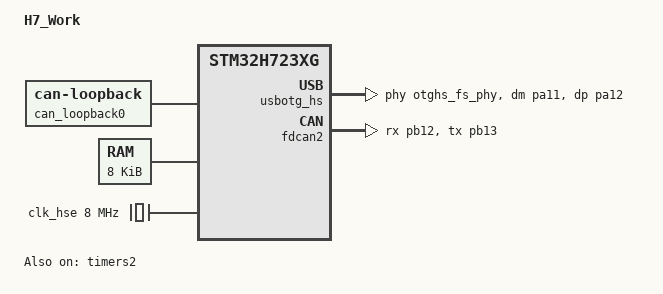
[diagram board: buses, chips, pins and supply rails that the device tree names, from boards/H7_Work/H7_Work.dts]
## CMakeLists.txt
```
# SPDX-License-Identifier: Apache-2.0

cmake_minimum_required(VERSION 3.28.0)

set(BOARD_ROOT ${CMAKE_CURRENT_LIST_DIR})
set(CMAKE_EXPORT_COMPILE_COMMANDS ON)

find_package(Zephyr REQUIRED HINTS $ENV{ZEPHYR_BASE})
project(H7_Work)

target_sources(app PRIVATE
    src/main.cpp
    src/Basic_USB.cpp
    src/Basic_CAN.cpp
    src/Extern_RM.cpp
    src/Extern_DM.cpp
    src/K_RTT_Thread.cpp
    src/K_CAN_Thread.cpp
    src/K_USB_CAN_ERR_Thread.cpp
    src/M_S_Control.cpp
)

target_include_directories(app PRIVATE
    ${CMAKE_CURRENT_SOURCE_DIR}/inc
    ${CMAKE_CURRENT_SOURCE_DIR}/src
)

set_source_files_properties(
    src/main.cpp
    PROPERTIES
    COMPILE_OPTIONS "-O0;-g3"
)
```

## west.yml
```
# Copyright (c) 2025 roboparty <2321901849@qq.com>
# SPDX-License-Identifier: GPL-3.0-only

manifest:
  version: 0.13

  projects:
    - name: zephyr
      remote: zephyrproject
      revision: main
      import: true

    - name: cannectivity
      remote: cannectivity
      revision: main
      path: custom/cannectivity

  remotes:
    - name: zephyrproject
      url-base: https://github.com/zephyrproject-rtos

    - name: cannectivity
      url-base: https://github.com/CANnectivity

  self:
    path: samples/roboto_usb2can
```

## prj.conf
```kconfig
# ------------------------------------------------------------------ 时钟
# STM32 时钟控制驱动：配置 PLL/总线时钟
CONFIG_CLOCK_CONTROL=y

# ------------------------------------------------------------------ 调试 / 运行时观测
# 静态初始化：C++静态对象在 main() 之前就构造好
CONFIG_STATIC_INIT_GNU=y
# 保留 assert: 失败会先打日志再挂住，便于定位。
CONFIG_ASSERT=y
# 线程分析器：查每个线程的栈用量 / CPU 占用
CONFIG_THREAD_ANALYZER=y
# 打印每个线程的优先级
CONFIG_THREAD_ANALYZER_PRINT_THREAD_PRIORITY=y
# 顺便统计中断栈（ISR0）的用量
CONFIG_THREAD_ANALYZER_ISR_STACK_USAGE=y
# 分析时用 k_thread_foreach_unlocked：逐字扫所有线程栈很慢，不要长时间关中断
CONFIG_THREAD_ANALYZER_RUN_UNLOCKED=y
# 线程名字
CONFIG_THREAD_NAME=y
# FPU 支持，让RTT可以打印float
CONFIG_CBPRINTF_FP_SUPPORT=y


# ------------------------------------------------------------------ 日志 (RTT 后端)
# 关键: deferred —— 日志由 log 线程格式化输出，不要在 UDC / USB 事件线程里同步写 RTT。
# 打开日志子系统（不开的话 LOG_ERR/LOG_INF 会在编译期被剔除）
CONFIG_LOG=y
# 延迟模式：调用者只入队，格式化/输出交给 logging 线程（不拖慢中断、UDC 线程）
CONFIG_LOG_MODE_DEFERRED=y
# 日志后端用 SEGGER RTT
CONFIG_LOG_BACKEND_RTT=y
# 启用 SEGGER RTT 本体
CONFIG_USE_SEGGER_RTT=y
# 允许用 devicetree 的 zephyr,memory-region 建立 no-cache 内存区
CONFIG_NOCACHE_MEMORY=y
# 把 RTT 控制块/缓冲放到 DTS 的 RTT_NOCACHE 区：Cortex-M7 有 D-cache，
# 放在可缓存内存里 pyocd 读 RTT 会 "Memory transfer fault (FAULT ACK)"
CONFIG_SEGGER_RTT_SECTION_CUSTOM_DTS_REGION=y
# RTT 上行缓冲满时丢日志，而不是阻塞调用者（UDC 线程 / 中断不能等）
CONFIG_LOG_BACKEND_RTT_MODE_DROP=y
# 日志格式化时不加时间戳（节省 CPU/堆栈）
CONFIG_LOG_BACKEND_SHOW_TIMESTAMP=n
# 全局日志级别 3 = INF：保留自己的 LOG_INF 调试输出
CONFIG_LOG_DEFAULT_LEVEL=3

# 缓存区大小：RTT 上行缓冲区 + LOG 环形缓冲区
CONFIG_SEGGER_RTT_BUFFER_SIZE_UP=8000
# LOG环形缓冲大小（analyzer 一次吐几十行；发现丢行就加大）
CONFIG_LOG_BUFFER_SIZE=16384
# logging 线程栈（格式化 + 写 RTT 都在这个线程栈上跑）
CONFIG_LOG_PROCESS_THREAD_STACK_SIZE=8000

# 以下三个模块只保留 WRN 及以上级别，避免 RTT 被刷屏
CONFIG_USBD_GS_USB_LOG_LEVEL_WRN=y
CONFIG_CAN_LOG_LEVEL_WRN=y
CONFIG_UDC_DRIVER_LOG_LEVEL_WRN=y

# ------------------------------------------------------------------ 内存分配 / 线程栈
# 所有中断栈
CONFIG_ISR_STACK_SIZE=8192
# 系统堆
CONFIG_HEAP_MEM_POOL_SIZE=8192
# 系统工作队列 sysworkq 线程栈
CONFIG_SYSTEM_WORKQUEUE_STACK_SIZE=4096
# main 线程栈（usbd_init/usbd_enable 等初始化都跑在 main 里）
CONFIG_MAIN_STACK_SIZE=4096

# ------------------------------------------------------------------ USB 设备栈 / 缓冲
# 用新一代 USB device 栈（device_next）；cannectivity 的 gs_usb 类依赖它
CONFIG_USB_DEVICE_STACK_NEXT=y
CONFIG_NONZERO_SPINLOCK_SIZE=y
# UDC 端点缓冲（net_buf）个数：USB 满载时不够会 enqueue 失败/丢帧 16～256
CONFIG_UDC_BUF_COUNT=64
# 上面这个缓冲池的总字节数 64~32768
CONFIG_UDC_BUF_POOL_SIZE=8192
# STM32 UDC 驱动线程栈 = 日志里的 usb@40040000（USB 端点事件/数据搬运用）
CONFIG_UDC_STM32_STACK_SIZE=4096
# usbd 协议栈线程栈
CONFIG_USBD_THREAD_STACK_SIZE=8192

# gs_usb_tx 线程
CONFIG_USBD_GS_USB_TX_THREAD_STACK_SIZE=8192
# gs_usb_rx 线程
CONFIG_USBD_GS_USB_RX_THREAD_STACK_SIZE=8192
# can_loopback（虚拟 can0）驱动的发送线程栈
CONFIG_CAN_LOOPBACK_TX_THREAD_STACK_SIZE=2048

# ------------------------------------------------------------------ gs_usb 设备类
# 暴露给主机的通道数：channel0 = can0(虚拟回环)，channel1 = can1(真实 FDCAN2)
CONFIG_USBD_GS_USB_MAX_CHANNELS=2
# 主机帧缓冲池: 元素 = 12B 头 + 64B 数据 (FD 模式) = 76B，
CONFIG_USBD_GS_USB_POOL_SIZE=192

# Linux gs_usb < 6.12.5 硬编码 EP 0x81 / 0x02，需要多一个 bulk OUT 端点兜底
CONFIG_USBD_GS_USB_COMPATIBILITY_MODE=y

# 收发线程优先级建议小于CAN所有FIFO，当前TX 0,RX 0
CONFIG_USBD_GS_USB_RX_THREAD_PRIO=2
CONFIG_USBD_GS_USB_TX_THREAD_PRIO=1

# ------------------------------------------------------------------ CAN / FDCAN
# CAN FD 模式：支持 FDF/BRS 帧，5M 数据段波特率需要它
CONFIG_CAN_FD_MODE=y
# 通用统计框架（下面的 CAN 统计依赖它）
CONFIG_STATS=y
# CAN 统计：bit/bit0 error、bus-off 等计数，对应 can_stats_get_*() 接口
CONFIG_CAN_STATS=y

# ------------------------------------------------------------------ 可选（要用再打开）
# 给每帧附加硬件时间戳
# CONFIG_USBD_GS_USB_TIMESTAMP=y
# 时间戳改用 USB SOF 做基准：精度更高，但每帧一次 SoF 中断（开销↑）
# CONFIG_USBD_GS_USB_TIMESTAMP_SOF=y
CONFIG_SYS_CLOCK_TICKS_PER_SEC=100000
```

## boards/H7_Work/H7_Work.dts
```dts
/dts-v1/;

#include <st/h7/stm32h723Xg.dtsi>
#include <st/h7/stm32h723vgtx-pinctrl.dtsi>
#include <zephyr/dt-bindings/memory-attr/memory-attr-arm.h>

/ {
	model = "H7_Work";
	compatible = "candlelightfd";

	aliases {
		rtt-custom-section = &rtt_region;
	};

	chosen {
		zephyr,sram = &sram0;
		zephyr,flash = &flash0;
		zephyr,canbus2 = &fdcan2;
		zephyr,canbus3 = &fdcan3;
	};

	cannectivity: cannectivity {
		compatible = "cannectivity";
		timestamp-counter = <&counters2>;

		channel0 {
			compatible = "cannectivity-channel";
			can-controller = <&fdcan2>;
		};
	};

	gs_usb0: gs_usb0 {
		compatible = "gs_usb";
		label = "gs_usb";
	};

	can_loopback0: can_loopback {
		compatible = "zephyr,can-loopback";
		status = "okay";
	};

	rtt_region: memory@2404e000 {
		compatible = "zephyr,memory-region", "mmio-sram";
		reg = <0x2404e000 DT_SIZE_K(8)>;
		zephyr,memory-region = "RTT_NOCACHE";
		zephyr,memory-attr = <DT_MEM_ARM_MPU_RAM_NOCACHE>;
	};
};

&sram0 {
	reg = <0x24000000 DT_SIZE_K(312)>;
};

/* Adjust the pll for a SYSTEM Clock of 480 MHz  */
&clk_hse {
	hse-bypass;
	clock-frequency = <DT_FREQ_M(8)>;
	status = "okay";
};

&pll {
	clocks = <&clk_hse>;
	div-m = <4>;   // 2 MHz to PLL（VCO）
	mul-n = <260>; // 520MHz
	div-p = <1>;   // 520MHz to SYS
	div-q = <13>;   // 20 MHz
	div-r = <13>;   // 20MHz to UART234578
	fracn = <0>;
	status = "okay";
};

&pll2 {
	clocks = <&clk_hse>;
	div-m = <1>;  // 8   MHz to PLL2（VCO）
	mul-n = <30>; // 240 MHz
	div-p = <3>;  // 80 MHz
	div-q = <3>;  // 80 MHz to FDCAN
	div-r = <2>;  // 120 MHz
	fracn = <0>;
	status = "okay";
};

&rcc {
	clocks = <&pll>;
	clock-frequency = <DT_FREQ_M(520)>;     /* 520 MHz SCLK*/
	d1cpre = <1>;                           /* 520 MHz CPU Clocks*/
	hpre = <4>;				/* 130 MHz */
	d1ppre = <1>;				/* 130 MHz APB3 Peripheral Clock */
	d2ppre1 = <1>;				/* 130 MHz APB1 Peripheral Clock */
	d2ppre2 = <1>;				/* 130 MHz APB2 Peripheral Clock */
	d3ppre = <1>;				/* 130 MHz APB4 Peripheral Clock */
	timpre;					/* Timer Clock Prescaler */
};

&clk_hsi48 {
	status = "okay";
};

zephyr_udc0: &usbotg_hs {
	pinctrl-0 = <&usb_otg_hs_dm_pa11 &usb_otg_hs_dp_pa12>;
	pinctrl-names = "default";
	/*           otghs   ep1_out ep1_in  */
	interrupts = <77 0>, <74 0>, <75 0>;
	num-bidir-endpoints = <9>;
	phys = <&otghs_fs_phy>;
	maximum-speed = "full-speed";
	ram-size = <DT_SIZE_K(4)>;
	clocks = <&rcc STM32_CLOCK(AHB1, 25)>,
		 <&rcc STM32_SRC_HSI48 USB_SEL(3)>;
	status = "okay";
};

&fdcan2 {
	pinctrl-0 = <&fdcan2_rx_pb12 &fdcan2_tx_pb13>;
	pinctrl-names = "default";
	clocks = <&rcc STM32_CLOCK(APB1_2, 8)>,
		 <&rcc STM32_SRC_PLL2_Q FDCAN_SEL(2)>;
	/*             int0   int1    calib  */
	interrupts = <20 0>, <22 0>, <63 0>;
	bosch,mram-cfg = <0x350 28 8 6 0 0 3 3>;
	status = "okay";
};

&timers2 {
	status = "okay";
	st,prescaler = <239>;

	counters2: counter {
		status = "okay";
	};
};

&pwr {
	power-supply = "ldo";
};
```

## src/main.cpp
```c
#include <zephyr/kernel.h>
#include <zephyr/logging/log.h>

#include <Basic_USB.h>

#include <K_RTT_Thread.h>
#include <K_CAN_Thread.h>

#include <M_S_Control.h>

LOG_MODULE_REGISTER(main, LOG_LEVEL_INF);

K_THREAD_DEFINE(RTT_TX_tid, 4096,
				RTT_TX_thread, 
				NULL, NULL, NULL,
				7, 0, 0);

				
K_THREAD_DEFINE(RTT_RX_tid, 4096,
				RTT_RX_thread,
				NULL, NULL, NULL,
				6, 0, 0);

K_THREAD_DEFINE(CAN2_tid, 2048,
				CAN2_thread, 
				NULL, NULL, NULL, 
				1, 0, SYS_FOREVER_MS);

K_THREAD_DEFINE(CAN_loopback_tid, 2048,
				CAN_loopback_thread, 
				NULL, NULL, NULL, 
				5, 0, 0);

// K_THREAD_DEFINE(USB_CAN_Err_tid, 1024,
// 				USB_CAN_ERR_thread, 
// 				NULL, NULL, NULL, 
// 				2, 0, 0);

struct usbd_context *usb_main_get(void) {return &usbd;}
int main_err = 0;
static bool can2_started;
int main(void)
{
	LOG_INF("Begin Gimbal");

	#ifdef CONFIG_USB_DEVICE_STACK_NEXT
	
    ops.event = gs_usb_event_handler;
    
	main_err = can_channels_validate(can_channels);
	if (main_err != 0) 
	{
		LOG_ERR("can_channels_validate failed (err %d)", main_err);
		return main_err;
	}

	main_err = gs_usb_register(gs_usb_dev, can_channels, ARRAY_SIZE(can_channels), &ops, NULL);
	if (main_err != 0) 
	{
		LOG_ERR("failed to register gs_usb (err %d)", main_err);
		return main_err;
	}

	if (!device_is_ready(gs_usb_dev)) 
	{
		LOG_ERR("gs_usb not ready");
		return -ENODEV;
	}

	/* New USB stack initialization */
	main_err = usbd_add_descriptor(&usbd, &lang);
	if (main_err != 0) 
	{
		LOG_ERR("failed to add language descriptor (err %d)", main_err);
		return main_err;
	}

	main_err = usbd_add_descriptor(&usbd, &mfr);
	if (main_err != 0) 
	{
		LOG_ERR("failed to add manufacturer descriptor (err %d)", main_err);
		return main_err;
	}

	main_err = usbd_add_descriptor(&usbd, &product);
	if (main_err != 0) 
	{
		LOG_ERR("failed to add product descriptor (err %d)", main_err);
		return main_err;
	}

	main_err = usbd_add_descriptor(&usbd, &sn);
	if (main_err != 0) 
	{
		LOG_ERR("failed to add serial number descriptor (err %d)", main_err);
		return main_err;
	}

	main_err = usbd_add_configuration(&usbd, USBD_SPEED_FS, &fs_config);
	if (main_err != 0) 
	{
		LOG_ERR("failed to add full-speed configuration (err %d)", main_err);
		return main_err;
	}

	main_err = usbd_register_class(&usbd, "gs_usb_0", USBD_SPEED_FS, 1);
	if (main_err != 0) 
	{
		LOG_ERR("failed to register gs_usb class (err %d)", main_err);
		return main_err;
	}

	main_err = usbd_device_set_code_triple(&usbd, USBD_SPEED_FS, 0, 0, 0);
	if (main_err != 0) 
	{
		LOG_ERR("failed to set code triple (err %d)", main_err);
		return main_err;
	}

	/* Set USB version to 2.0.1 to trigger BOS descriptor read (required for WinUSB) */
	main_err = usbd_device_set_bcd_usb(&usbd, USBD_SPEED_FS, USB_SRN_2_0_1);
	if (main_err != 0) 
	{
		LOG_ERR("failed to set FS bcdUSB (err %d)", main_err);
		return main_err;
	}

	/* Set device version */
	main_err = usbd_device_set_bcd_device(&usbd, APP_VERSION_BCD);
	if (main_err != 0) 
	{
		LOG_ERR("failed to set bcdDevice (err %d)", main_err);
		return main_err;
	}

	main_err = usbd_add_descriptor(&usbd, &bos_lpm);
	if (main_err != 0) 
	{
		LOG_ERR("failed to add BOS LPM descriptor (err %d)", main_err);
		return main_err;
	}

	main_err = usbd_init(&usbd);
	if (main_err != 0) 
	{
		LOG_ERR("failed to initialize USB device (err %d)", main_err);
		return main_err;
	}

	main_err = usbd_enable(&usbd);
	if (main_err != 0) 
	{
		LOG_ERR("failed to enable USB device (err %d)", main_err);
		return main_err;
	}
	#else
		/* Old USB stack */
		main_err = usb_enable(NULL);
		if (main_err != 0) 
		{
			LOG_ERR("failed to enable USB (err %d)", main_err);
			return main_err;
		}
	#endif

	M_S_Control.C_M_TO_S(usb_main_get());
	if (!can2_started) 
	{
		can2_started = true;
		k_thread_start(CAN2_tid);
	}

	return 0;
}
```

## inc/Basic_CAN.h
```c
#ifndef BASIC_CAN_H_
#define BASIC_CAN_H_

#include <zephyr/kernel.h>
#include <zephyr/drivers/can.h>
#include <zephyr/devicetree.h> 

#define CAN_Get_Frame(data_ptr, q_name)   (k_msgq_put(&(q_name), (data_ptr), K_NO_WAIT))

extern const struct can_filter BASIC_CANLB_Fil;
extern const struct can_filter BASIC_CAN1_Fil;
extern const struct can_filter BASIC_CAN2_Fil;
extern const struct can_filter BASIC_CAN3_Fil;

extern struct k_msgq basic_canlb_q;
extern struct k_msgq basic_can1_q;
extern struct k_msgq basic_can2_q;
extern struct k_msgq basic_can3_q;

void CAN_LB_RX_Cplt(const struct device *dev, struct can_frame *frame, void *user_data);
void CAN1_RX_Cplt(const struct device *dev, struct can_frame *frame, void *user_data);
void CAN2_RX_Cplt(const struct device *dev, struct can_frame *frame, void *user_data);
void CAN3_RX_Cplt(const struct device *dev, struct can_frame *frame, void *user_data);

void CAN_Clear_All_Filters(const struct device *can);
void CAN_Clear_Std_Filters(const struct device *can);

int Basic_CAN_Start(const struct device *can,
                        uint16_t can_mod,
                        can_rx_callback_t CAN_RX_Cplt,
                        const struct can_filter *filter,
                        uint32_t bitrate);

int Basic_CAN_Stop(const struct device *can);
#endif
```

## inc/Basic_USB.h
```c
#pragma once

#ifdef CONFIG_USB_DEVICE_STACK_NEXT
#include <zephyr/usb/usbd.h>
#include <cannectivity/usb/class/gs_usb.h>

#define CAN_CHANNELS_NUM CONFIG_USBD_GS_USB_MAX_CHANNELS
#define APP_VERSION_BCD 0x0100

/* ==================================================================
 * 注意：USBD_DEVICE_DEFINE / USBD_DESC_*_DEFINE 展开出来全是 static
 * 变量。若直接写在头文件里，每个包含它的 .cpp 都会生成一份独立副本
 * （map 里曾经出现 5 个 _usbd_context.static.usbd_，分布在
 *  main.cpp / Basic_USB.cpp / K_RTT_Thread.cpp /
 *  K_USB_CAN_ERR_Thread.cpp / M_S_Control.cpp）。
 * 因此所有 usbd 对象统一在 src/Basic_USB.cpp 里定义一次，
 * 这里只做函数声明，其他文件一律通过函数拿指针。
 * ================================================================== */

/* 返回唯一的 usbd 上下文（定义在 Basic_USB.cpp） */
struct usbd_context *usb_main_get(void);

/* 完整初始化 USB 设备栈：
 *   gs_usb_register -> 描述符/配置/类注册 -> usbd_init() -> usbd_enable()
 * 成功返回 0，失败返回错误码（与原 main() 中的步骤一一对应）。 */
int Basic_USB_Init(void);

extern atomic_t USB_CHANNEL_STARTED[CONFIG_USBD_GS_USB_MAX_CHANNELS],
                USB_CHANNEL_ERROR_OFF[CONFIG_USBD_GS_USB_MAX_CHANNELS],
                USB_CHANNEL_ERROR_ON[CONFIG_USBD_GS_USB_MAX_CHANNELS],
                USB_CHANNEL_ACTIVITY_RX[CONFIG_USBD_GS_USB_MAX_CHANNELS],
                USB_CHANNEL_ACTIVITY_TX[CONFIG_USBD_GS_USB_MAX_CHANNELS];

extern const struct device *can_channels[CAN_CHANNELS_NUM];

/* BOS 能力描述符（bos_cap_lpm）与 BOS 节点（bos_lpm）同样定义在
 * src/Basic_USB.cpp，这里不需要可见。 */

extern const struct device *gs_usb_dev;
extern struct gs_usb_ops ops;

int gs_usb_event_handler(const struct device *dev, uint16_t ch,
                         enum gs_usb_event event, void *user_data);

int can_channels_validate(const struct device **channels);

void USB_CAN_ERR_thread(void *p1, void *p2, void *p3);

#endif
```

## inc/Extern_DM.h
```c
#ifndef EXTERN_DM_H_
#define EXTERN_DM_H_

#include <stdbool.h>
#include <stdint.h>

#include <zephyr/kernel.h>
#include <zephyr/drivers/can.h>
#include <zephyr/devicetree.h>

/*
 * 达妙 MIT 模式反馈量程。
 * 位置单位：rad；速度单位：rad/s；力矩单位：N·m。
 * 不同电压/固件版本可能有不同量程，调用者应以电机手册为准。
 */
struct DM_Feedback
{
    uint16_t can_id;
    uint8_t error;
    float position;
    float velocity;
    float torque;
    uint8_t mos_temperature;
    uint8_t rotor_temperature;
};

/*
 * 发送一帧达妙 MIT 控制命令。
 * Id 是电机 CAN 从机 ID；Kp、Kd、Position、Velocity、Torque 使用物理单位。
 * P_Max、V_Max、T_Max 必须匹配具体电机型号。
 */
int Send_DM(const struct device *can,
            uint16_t Id,
            float Kp,
            float Kd,
            float Position,
            float Velocity,
            float Torque,
            float P_Max,
            float V_Max,
            float T_Max);

/* 达妙命令：0xFC 使能，0xFD 停止，0xFE 设置零位。 */
int Send_DM_Command(const struct device *can, uint16_t Id, uint8_t Command);
int Enable_DM(const struct device *can, uint16_t Id);
int Disable_DM(const struct device *can, uint16_t Id);
int Set_Zero_DM(const struct device *can, uint16_t Id);

/* 将一帧 8 字节达妙反馈解码为位置、速度、力矩和温度。 */
bool Decode_DM(const struct can_frame *Frame,
               struct DM_Feedback *Feedback,
               float P_Max,
               float V_Max,
               float T_Max);

#endif
```

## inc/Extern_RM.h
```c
#ifndef EXTERN_RM_H_
#define EXTERN_RM_H_

#include <zephyr/kernel.h>
#include <zephyr/drivers/can.h>
#include <zephyr/devicetree.h> 

void Send_RM(const struct device *can, uint16_t Id, int16_t M_201, int16_t M_202, int16_t M_203, int16_t M_204);
#endif
```

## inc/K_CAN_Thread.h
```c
#ifndef K_CAN_THREAD_H_
#define K_CAN_THREAD_H_

#include <zephyr/kernel.h>
#include <zephyr/drivers/can.h>
#include <zephyr/devicetree.h> 

extern const k_tid_t CAN2_tid;

void CAN2_thread(void *p1, void *p2, void *p3);
void CAN_loopback_thread(void *p1, void *p2, void *p3);
#endif
```

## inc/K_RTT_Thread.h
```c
#ifndef RTT_THREAD_H_
#define RTT_THREAD_H_

#include <zephyr/kernel.h>
#include <zephyr/logging/log.h>
#include <zephyr/sys/sys_io.h>
#include <SEGGER_RTT.h>
extern int RTT_LOG_INFO;
extern uint32_t CAN_RX_Num;
extern uint32_t CAN_TX_Num;
void RTT_TX_thread(void *p1, void *p2, void *p3);
void RTT_RX_thread(void *p1, void *p2, void *p3);

#endif
```

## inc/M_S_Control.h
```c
#ifndef M_S_CONTROL_H_
#define M_S_CONTROL_H_

#include <zephyr/kernel.h>
#include <zephyr/drivers/can.h>
#include <zephyr/devicetree.h> 



class _M_S_Control
{
    private:
        struct k_sem sem;
        bool S_State;
        bool *E_CAN_State;
        const uint16_t *can_mod;
        const can_rx_callback_t *CAN_RX_Cplt;
        const struct device **can_dev;
        const struct can_filter *const *Fil;
        const uint32_t *bitrate;
    public:
        _M_S_Control(bool *E_CAN_State,
                     const uint16_t *can_mod,
                     const can_rx_callback_t *CAN_RX_Cplt,
                     const struct device **can_dev,
                     const struct can_filter *const *Fil,
                     const uint32_t *bitrate)
                    :S_State(false), E_CAN_State(E_CAN_State), can_mod(can_mod), CAN_RX_Cplt(CAN_RX_Cplt),can_dev(can_dev), Fil(Fil), bitrate(bitrate)
                    {k_sem_init(&sem, 1, 1);}
        
        /* delete cpoy function */
        _M_S_Control(const _M_S_Control&) = delete;
        _M_S_Control& operator=(const _M_S_Control&) = delete;

        int C_M_TO_S(struct usbd_context *const uds_ctx);

        int C_S_TO_M(  struct usbd_context *const uds_ctx,
                        const struct device *usb_dev,
                        struct gs_usb_ops *res_ops);
        
        bool Get_S_State(k_timeout_t timeout);
        bool Get_E_CAN_State(size_t channel, k_timeout_t timeout);
};
extern _M_S_Control M_S_Control;
#endif
```

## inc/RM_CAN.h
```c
#ifndef RM_CAN_H_
#define RM_CAN_H_

#include <zephyr/kernel.h>
#include <zephyr/drivers/can.h>
#include <zephyr/devicetree.h> 

#define CAN_Get_Frame(data_ptr, q_name)   (k_msgq_put(&(q_name), (data_ptr), K_NO_WAIT))

extern const struct can_filter RM_CAN2_Fil;
extern const struct can_filter RM_CAN3_Fil;

extern struct k_msgq rm_can2_q;
extern struct k_msgq rm_can3_q;

void CAN2_RX_Cplt(const struct device *dev, struct can_frame *frame, void *user_data);
void CAN3_RX_Cplt(const struct device *dev, struct can_frame *frame, void *user_data);
void CAN_Clear_Filters(const struct device *can);

void CAN_RM_Start(  const struct device *can,
                    uint16_t can_mod,
                    can_rx_callback_t CAN_RX_Cplt,
                    const struct can_filter *filter);

void CAN_RM_Stop(const struct device *can);
void Send_RM(const struct device *can, uint16_t Id, int16_t M_201, int16_t M_202, int16_t M_203, int16_t M_204);
#endif
```

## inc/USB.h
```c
#pragma once

#ifdef CONFIG_USB_DEVICE_STACK_NEXT
#include <zephyr/usb/usbd.h>
#include <cannectivity/usb/class/gs_usb.h>

#define CAN_CHANNELS_NUM CONFIG_USBD_GS_USB_MAX_CHANNELS
#define APP_VERSION_BCD 0x0100

/* ============ 1. 设备上下文 + 标准字符串/配置描述符 ============ */
USBD_DEVICE_DEFINE(usbd, DEVICE_DT_GET(DT_NODELABEL(zephyr_udc0)), 0x1D50, 0x606F);
USBD_DESC_LANG_DEFINE(lang);
USBD_DESC_MANUFACTURER_DEFINE(mfr, "A_Shui");
USBD_DESC_PRODUCT_DEFINE(product, "product_0");
USBD_DESC_SERIAL_NUMBER_DEFINE(sn);
USBD_DESC_CONFIG_DEFINE(fs_config_desc, "Full-Speed Configuration");
USBD_CONFIGURATION_DEFINE(fs_config, 0, 250, &fs_config_desc);

extern atomic_t USB_CHANNEL_STARTED[CONFIG_USBD_GS_USB_MAX_CHANNELS],
                USB_CHANNEL_ERROR_OFF[CONFIG_USBD_GS_USB_MAX_CHANNELS],
                USB_CHANNEL_ERROR_ON[CONFIG_USBD_GS_USB_MAX_CHANNELS],
                USB_CHANNEL_ACTIVITY_RX[CONFIG_USBD_GS_USB_MAX_CHANNELS],
                USB_CHANNEL_ACTIVITY_TX[CONFIG_USBD_GS_USB_MAX_CHANNELS];

extern const struct device *can_channels[CAN_CHANNELS_NUM];

/* ============ 2. BOS 能力：USB2.0 Extension(LPM) ============ */
static const struct usb_bos_capability_lpm bos_cap_lpm = {
    .bLength = sizeof(struct usb_bos_capability_lpm),
    .bDescriptorType = USB_DESC_DEVICE_CAPABILITY,
    .bDevCapabilityType = USB_BOS_CAPABILITY_EXTENSION,
    .bmAttributes = 0UL,
};

/* ============ 3. BOS 描述符节点 ============ */
USBD_DESC_BOS_DEFINE(bos_lpm, sizeof(bos_cap_lpm), &bos_cap_lpm);

struct usbd_context *usb_main_get(void);
extern const struct device *gs_usb_dev;
extern struct gs_usb_ops ops;

int gs_usb_event_handler(const struct device *dev, uint16_t ch,
                         enum gs_usb_event event, void *user_data);

int can_channels_validate(const struct device **channels);

void USB_CAN_ERR_thread(void *p1, void *p2, void *p3);

#endif
```

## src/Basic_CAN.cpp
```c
#include "Basic_CAN.h"
#include "M_S_Control.h"

const struct can_filter BASIC_CANLB_Fil = { .id = 0, .mask = 0, .flags = 0 };
const struct can_filter BASIC_CAN1_Fil = { .id = 0, .mask = 0, .flags = 0 };
const struct can_filter BASIC_CAN2_Fil = { .id = 0, .mask = 0, .flags = 0 };
const struct can_filter BASIC_CAN3_Fil = { .id = 0, .mask = 0, .flags = 0 };

K_MSGQ_DEFINE(basic_canlb_q, 8,8,2);
K_MSGQ_DEFINE(basic_can1_q, 8,8,2);
K_MSGQ_DEFINE(basic_can2_q, 8,8,2);
K_MSGQ_DEFINE(basic_can3_q, 8,8,2);
extern uint32_t CAN_RX_Num;
__noinit volatile float torque;
REQUIRES(torque);

float uint_to_float(int x_int, float x_min, float x_max, int bits)
{
    /// converts unsigned int to float, given range and number of bits ///
    float span = x_max - x_min;
    float offset = x_min;
    return ((float)x_int) * span / ((float)((1 << bits) - 1)) + offset;
}

__attribute__((weak)) void CAN_LB_RX_Cplt(const struct device *dev, 
                                        struct can_frame *frame,
                                        void *user_data)
{
    k_msgq_purge(&basic_canlb_q);
    CAN_Get_Frame(frame->data,basic_canlb_q);
}

__attribute__((weak)) void CAN1_RX_Cplt(const struct device *dev, 
                                        struct can_frame *frame,
                                        void *user_data)
{
    k_msgq_purge(&basic_can1_q);
    CAN_Get_Frame(frame->data,basic_can1_q);
}

__attribute__((weak)) void CAN2_RX_Cplt(const struct device *dev, 
                                        struct can_frame *frame,
                                        void *user_data)
{
    k_msgq_purge(&basic_can2_q);
    CAN_Get_Frame(frame->data,basic_can2_q);
    CAN_RX_Num++;
    if(frame->id == 0x13)
    {
        int t_int = ((frame->data[4] & 0xF) << 8) | frame->data[5];
        torque = uint_to_float(t_int,-28.0f,28.0f,12);
    }
    
}

__attribute__((weak)) void CAN3_RX_Cplt(const struct device *dev, 
                                        struct can_frame *frame,
                                        void *user_data)
{
    k_msgq_purge(&basic_can3_q);
    CAN_Get_Frame(frame->data,basic_can3_q);
}


/*-  0: success
  - -1: can is NULL
  - -2: can_stop fail
  - -3: can_add_rx_filter fail
  - -4: can_set_mode fail
  - -5: can_set_bitrate fail
  - -6: can_set_bitrate_data fail
  - -7: can_start fail*/
int Basic_CAN_Start(const struct device *can,
                        uint16_t can_mod,
                        can_rx_callback_t CAN_RX_Cplt,
                        const struct can_filter *filter,
                        uint32_t bitrate)
{
    if(can != NULL)
    {
        int rec = can_stop(can);
        if(rec == 0 || rec == -EALREADY)
            if (can == DEVICE_DT_GET_ONE(zephyr_can_loopback))
                CAN_Clear_Std_Filters(can);
            else
                CAN_Clear_All_Filters(can);
        else
            return -2;

        if(can_add_rx_filter(can, CAN_RX_Cplt, NULL, filter) != 0)
            return -3;

        if(can_set_mode(can, can_mod) != 0)
            return -4;

        if (can_mod & CAN_MODE_FD)
        {
            if( ( can_set_bitrate(can, 1000000) 
                & can_set_bitrate_data(can, bitrate) ) != 0)
                return -5;
        }
        else
        {
            if(can_set_bitrate(can, bitrate) != 0)
                return -6;
        }
        
        if(can_start(can) != 0)
            return -7;

        return 0;
    }
    return -1;
}

/*-  0: success
  - -1: can is NULL
  - -2: can_stop fail */
int Basic_CAN_Stop(const struct device *can)
{
    if(can != NULL)
    {
        int rec = can_stop(can);
        if(rec == 0 || rec == -EALREADY)
        {
            if (can == DEVICE_DT_GET_ONE(zephyr_can_loopback))
                CAN_Clear_Std_Filters(can);
            else
                CAN_Clear_All_Filters(can);
            return 0;
        }
        else
            return -2;
    }
    return -1;
}

void CAN_Clear_All_Filters(const struct device *can)
{
    int n_std = can_get_max_filters(can, false);
    int n_ext = can_get_max_filters(can, true);
    for (int id = 0; id < n_std + n_ext; id++) 
        can_remove_rx_filter(can, id);
}

void CAN_Clear_Std_Filters(const struct device *can)
{
    int n_std = can_get_max_filters(can, false);
    for (int id = 0; id < n_std; id++) 
        can_remove_rx_filter(can, id);
}
```

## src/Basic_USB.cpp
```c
#include <zephyr/kernel.h>
#include <zephyr/sys/atomic.h>
#include <zephyr/sys/sys_io.h>
#include <zephyr/logging/log.h>
#include "Basic_USB.h"
#include <zephyr/drivers/can.h>
#include <zephyr/devicetree.h> 

K_MSGQ_DEFINE(CAN_ERR_MSGQ, sizeof(uint8_t), 2, 1);

LOG_MODULE_REGISTER(usb_can, LOG_LEVEL_INF);

/* ==================================================================
 * USB 设备栈对象：整个工程只在这里定义一次
 *   USBD_DEVICE_DEFINE / USBD_DESC_*_DEFINE 展开为 static 变量，
 *   若写在头文件里会在每个 TU 里各生成一份（曾经的 5 份副本问题）。
 * ================================================================== */
USBD_DEVICE_DEFINE(usbd, DEVICE_DT_GET(DT_NODELABEL(zephyr_udc0)), 0x1D50, 0x606F);

USBD_DESC_LANG_DEFINE(lang);
USBD_DESC_MANUFACTURER_DEFINE(mfr, "A_Shui");
USBD_DESC_PRODUCT_DEFINE(product, "product_0");
USBD_DESC_SERIAL_NUMBER_DEFINE(sn);

USBD_DESC_CONFIG_DEFINE(fs_config_desc, "Full-Speed Configuration");
USBD_CONFIGURATION_DEFINE(fs_config, 0, 250, &fs_config_desc);

/* BOS 能力：USB2.0 Extension(LPM) */
static const struct usb_bos_capability_lpm bos_cap_lpm = {
    .bLength = sizeof(struct usb_bos_capability_lpm),   //字节数
    .bDescriptorType = USB_DESC_DEVICE_CAPABILITY,      //Device Capability 描述符
    .bDevCapabilityType = USB_BOS_CAPABILITY_EXTENSION, //USB2.0拓展，如果windows免驱可能要更改
    // bit0：必须为0
    // bit1：支持LPM             =0为不支持
    // bit2：BESL有效            =0不提供BESL参数
    // bit3：baseline BESL有效   =0为不支持
    // bits4–7：为baseline BESL值（单位µs）
    // bit8：deep BESL 数值有效
    // bits：Deep BESL value值（单位µs）
    .bmAttributes = 0UL,
};
USBD_DESC_BOS_DEFINE(bos_lpm, sizeof(bos_cap_lpm), &bos_cap_lpm);

struct usbd_context *usb_main_get(void)
{
    return &usbd;
}

/* ==================== ops 事件 ==================== */
static atomic_t evt_err_off;
atomic_t USB_CHANNEL_STARTED[CONFIG_USBD_GS_USB_MAX_CHANNELS] = {0},
         USB_CHANNEL_ERROR_OFF[CONFIG_USBD_GS_USB_MAX_CHANNELS] = {0},
         USB_CHANNEL_ERROR_ON[CONFIG_USBD_GS_USB_MAX_CHANNELS] = {0},
         USB_CHANNEL_ACTIVITY_RX[CONFIG_USBD_GS_USB_MAX_CHANNELS] = {0},
         USB_CHANNEL_ACTIVITY_TX[CONFIG_USBD_GS_USB_MAX_CHANNELS] = {0};

const struct device *can_channels[CONFIG_USBD_GS_USB_MAX_CHANNELS] =
{
    DEVICE_DT_GET(DT_NODELABEL(can_loopback0)),
    DEVICE_DT_GET(DT_NODELABEL(fdcan2)),
};

const struct device *gs_usb_dev = DEVICE_DT_GET(DT_NODELABEL(gs_usb0));
struct gs_usb_ops ops;

int can_channels_validate(const struct device **channels)
{
    for (int i = 0; i < CAN_CHANNELS_NUM; i++) {
        if (can_channels[i] == NULL) 
        {
            return -EINVAL;
        }
    }
    return 0;
}

int gs_usb_event_handler(const struct device *dev, uint16_t ch,
                                enum gs_usb_event event, void *user_data)
{
    switch (event)
    {
        case GS_USB_EVENT_CHANNEL_STARTED:
            atomic_inc(&USB_CHANNEL_STARTED[ch]);break;
        case GS_USB_EVENT_CHANNEL_ERROR_OFF:
            atomic_inc(&USB_CHANNEL_ERROR_OFF[ch]);break;
        case GS_USB_EVENT_CHANNEL_ERROR_ON:
            atomic_inc(&USB_CHANNEL_ERROR_ON[ch]);break;
        case GS_USB_EVENT_CHANNEL_ACTIVITY_RX:
            atomic_inc(&USB_CHANNEL_ACTIVITY_RX[ch]);break;
        case GS_USB_EVENT_CHANNEL_ACTIVITY_TX:
            atomic_inc(&USB_CHANNEL_ACTIVITY_TX[ch]);break;
        default:
            break;
    }
    // 错误计数>=128
    // if(event == GS_USB_EVENT_CHANNEL_ERROR_ON)
    // {
    //     uint8_t ch_8 = (uint8_t)ch;
    //     k_msgq_put(&CAN_ERR_MSGQ, &ch_8, K_NO_WAIT);
    //     return -1;
    // }
    return 0;
}

/* ==================================================================
 * USB 设备栈初始化：从原 main() 搬过来，顺序保持不变
 * ================================================================== */
int Basic_USB_Init(void)
{
    int err;

    /* 自检：确认上下文就是唯一那份、描述符指针非空、尚未初始化 */
    LOG_INF("usbd=%p fs_desc=%p hs_desc=%p initialized=%d",
            (void *)&usbd, usbd.fs_desc, usbd.hs_desc,
            usbd.status.initialized);

    ops.event = gs_usb_event_handler;

    err = can_channels_validate(can_channels);
    if (err != 0)
    {
        LOG_ERR("can_channels_validate failed (err %d)", err);
        return err;
    }

    err = gs_usb_register(gs_usb_dev, can_channels, ARRAY_SIZE(can_channels), &ops, NULL);
    if (err != 0)
    {
        LOG_ERR("failed to register gs_usb (err %d)", err);
        return err;
    }

    if (!device_is_ready(gs_usb_dev))
    {
        LOG_ERR("gs_usb not ready");
        return -ENODEV;
    }

    /* ---------- 描述符 / 配置 / 类注册 ---------- */
    err = usbd_add_descriptor(&usbd, &lang);
    if (err != 0)
    {
        LOG_ERR("failed to add language descriptor (err %d)", err);
        return err;
    }

    err = usbd_add_descriptor(&usbd, &mfr);
    if (err != 0)
    {
        LOG_ERR("failed to add manufacturer descriptor (err %d)", err);
        return err;
    }

    err = usbd_add_descriptor(&usbd, &product);
    if (err != 0)
    {
        LOG_ERR("failed to add product descriptor (err %d)", err);
        return err;
    }

    err = usbd_add_descriptor(&usbd, &sn);
    if (err != 0)
    {
        LOG_ERR("failed to add serial number descriptor (err %d)", err);
        return err;
    }

    err = usbd_add_configuration(&usbd, USBD_SPEED_FS, &fs_config);
    if (err != 0)
    {
        LOG_ERR("failed to add full-speed configuration (err %d)", err);
        return err;
    }

    err = usbd_register_class(&usbd, "gs_usb_0", USBD_SPEED_FS, 1);
    if (err != 0)
    {
        LOG_ERR("failed to register gs_usb class (err %d)", err);
        return err;
    }

    err = usbd_device_set_code_triple(&usbd, USBD_SPEED_FS, 0, 0, 0);
    if (err != 0)
    {
        LOG_ERR("failed to set code triple (err %d)", err);
        return err;
    }

    /* Set USB version to 2.0.1 to trigger BOS descriptor read (required for WinUSB) */
    err = usbd_device_set_bcd_usb(&usbd, USBD_SPEED_FS, USB_SRN_2_0_1);
    if (err != 0)
    {
        LOG_ERR("failed to set FS bcdUSB (err %d)", err);
        return err;
    }

    /* Set device version */
    err = usbd_device_set_bcd_device(&usbd, APP_VERSION_BCD);
    if (err != 0)
    {
        LOG_ERR("failed to set bcdDevice (err %d)", err);
        return err;
    }

    err = usbd_add_descriptor(&usbd, &bos_lpm);
    if (err != 0)
    {
        LOG_ERR("failed to add BOS LPM descriptor (err %d)", err);
        return err;
    }

    /* ---------- 启动协议栈 ---------- */
    err = usbd_init(&usbd);
    if (err != 0)
    {
        LOG_ERR("failed to initialize USB device (err %d)", err);
        return err;
    }

    err = usbd_enable(&usbd);
    if (err != 0)
    {
        LOG_ERR("failed to enable USB device (err %d)", err);
        return err;
    }

    LOG_INF("USB device stack initialized (%04x:%04x)", 0x1D50, 0x606F);
    return 0;
}
```

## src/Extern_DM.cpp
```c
#include "Extern_DM.h"

#include <errno.h>

namespace
{
uint16_t Float_To_UInt(float value, float min_value, float max_value, uint8_t bits)
{
    if (value < min_value)
        value = min_value;
    if (value > max_value)
        value = max_value;

    const float span = max_value - min_value;
    const uint32_t max_uint = (1U << bits) - 1U;
    const float normalized = (value - min_value) / span;
    return (uint16_t)(normalized * (float)max_uint);
}

float UInt_To_Float(uint16_t value, float min_value, float max_value, uint8_t bits)
{
    const uint32_t max_uint = (1U << bits) - 1U;
    return ((float)value / (float)max_uint) *
           (max_value - min_value) + min_value;
}
}

int Send_DM(const struct device *can,
            uint16_t Id,
            float Kp,
            float Kd,
            float Position,
            float Velocity,
            float Torque,
            float P_Max,
            float V_Max,
            float T_Max)
{
    if (can == nullptr || P_Max <= 0.0f || V_Max <= 0.0f || T_Max <= 0.0f)
        return -EINVAL;

    struct can_frame Frame =
    {
        .id = Id,
        .dlc = 8,
    };

    const uint16_t q_uint = Float_To_UInt(Position, -P_Max, P_Max, 16);
    const uint16_t dq_uint = Float_To_UInt(Velocity, -V_Max, V_Max, 12);
    const uint16_t kp_uint = Float_To_UInt(Kp, 0.0f, 500.0f, 12);
    const uint16_t kd_uint = Float_To_UInt(Kd, 0.0f, 5.0f, 12);
    const uint16_t tau_uint = Float_To_UInt(Torque, -T_Max, T_Max, 12);

    /* 达妙 MIT 命令：q(16) + dq(12) + kp(12) + kd(12) + tau(12)。 */
    Frame.data[0] = (uint8_t)(q_uint >> 8);
    Frame.data[1] = (uint8_t)q_uint;
    Frame.data[2] = (uint8_t)(dq_uint >> 4);
    Frame.data[3] = (uint8_t)(((dq_uint & 0x0F) << 4) | (kp_uint >> 8));
    Frame.data[4] = (uint8_t)kp_uint;
    Frame.data[5] = (uint8_t)(kd_uint >> 4);
    Frame.data[6] = (uint8_t)(((kd_uint & 0x0F) << 4) | (tau_uint >> 8));
    Frame.data[7] = (uint8_t)tau_uint;

    return can_send(can, &Frame, K_NO_WAIT, NULL, NULL);
}

int Send_DM_Command(const struct device *can, uint16_t Id, uint8_t Command)
{
    if (can == nullptr)
        return -EINVAL;

    struct can_frame Frame =
    {
        .id = Id,
        .dlc = 8,
    };

    for (uint8_t i = 0; i < 7; i++)
        Frame.data[i] = 0xFF;
    Frame.data[7] = Command;

    return can_send(can, &Frame, K_NO_WAIT, NULL, NULL);
}

int Enable_DM(const struct device *can, uint16_t Id)
{
    return Send_DM_Command(can, Id, 0xFC);
}

int Disable_DM(const struct device *can, uint16_t Id)
{
    return Send_DM_Command(can, Id, 0xFD);
}

int Set_Zero_DM(const struct device *can, uint16_t Id)
{
    return Send_DM_Command(can, Id, 0xFE);
}

bool Decode_DM(const struct can_frame *Frame,
               struct DM_Feedback *Feedback,
               float P_Max,
               float V_Max,
               float T_Max)
{
    if (Frame == nullptr || Feedback == nullptr || Frame->dlc != 8 ||
        P_Max <= 0.0f || V_Max <= 0.0f || T_Max <= 0.0f)
        return false;

    const uint8_t *data = Frame->data;
    const uint16_t q_uint = ((uint16_t)data[1] << 8) | data[2];
    const uint16_t dq_uint = ((uint16_t)data[3] << 4) | (data[4] >> 4);
    const uint16_t tau_uint = ((uint16_t)(data[4] & 0x0F) << 8) | data[5];

    Feedback->can_id = Frame->id;
    Feedback->error = (data[0] >> 4) & 0x0F;
    Feedback->position = UInt_To_Float(q_uint, -P_Max, P_Max, 16);
    Feedback->velocity = UInt_To_Float(dq_uint, -V_Max, V_Max, 12);
    Feedback->torque = UInt_To_Float(tau_uint, -T_Max, T_Max, 12);
    Feedback->mos_temperature = data[6];
    Feedback->rotor_temperature = data[7];
    return true;
}
```
